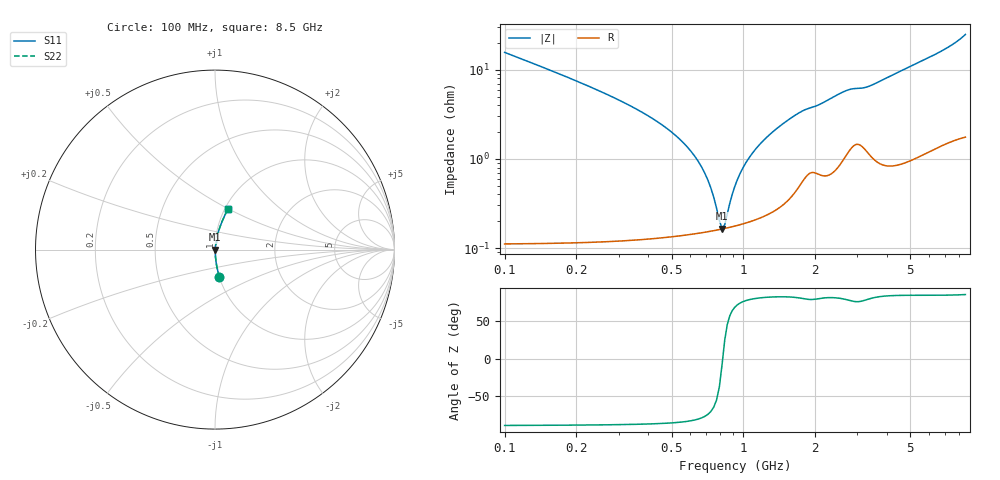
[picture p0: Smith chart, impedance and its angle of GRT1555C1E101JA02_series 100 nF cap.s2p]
!Murata Part Number: GRT1555C1E101JA02
!These Parameters are Measured in Series Mode Connection
!  o--ll--o
!Port1  Port2
!  o------o
!Operation Temp=25[degC], DC Bias Voltage=0[V]
!Freq. Start=100[MHz] Stop=8.5[GHz], 401[Steps]
!Data Generated on Jan 10, 2017
# Hz S RI R 50
!Freq.(Hz) S11(Real) S11(Imag) S21(Real) S21(Imag) S12(Real) S12(Imag) S22(Real) S22(Imag)
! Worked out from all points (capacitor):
!   401 points, 100 MHz to 8.5 GHz, reference 50 ohm
!   read as one part in series: C = 100 pF near 142 MHz
!   lowest |Z| = 165 mohm at 814 MHz (marker M1)
!   series resonance near 818.8 MHz, so ESL is about 380 pH
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1e8  0.025 -0.1527  0.975 0.1527  0.975 0.1527  0.025 -0.1527
2.47e8  0.00457 -0.0582  0.9954 0.0582  0.9954 0.0582  0.00457 -0.0582
5.2e8  0.00168 -0.0182  0.9983 0.0182  0.9983 0.0182  0.00168 -0.0182
6.25e8  0.00155 -0.0106  0.9984 0.0106  0.9984 0.0106  0.00155 -0.0106
6.88e8  0.00155 -0.00679  0.9985 0.00679  0.9985 0.00679  0.00155 -0.00679
7.72e8  0.00159 -0.00229  0.9984 0.00229  0.9984 0.00229  0.00159 -0.00229
8.14e8  0.00163 -0.000225  0.9984 0.000225  0.9984 0.000225  0.00163 -0.000225
8.35e8  0.00166 0.000766  0.9983 -0.000766  0.9983 -0.000766  0.00166 0.000766
8.56e8  0.00168 0.00173  0.9983 -0.00173  0.9983 -0.00173  0.00168 0.00173
9.19e8  0.00178 0.00451  0.9982 -0.00451  0.9982 -0.00451  0.00178 0.00451
9.61e8  0.00185 0.00628  0.9981 -0.00628  0.9981 -0.00628  0.00185 0.00628
1.066e9  0.00208 0.0104  0.9979 -0.0104  0.9979 -0.0104  0.00208 0.0104
1.255e9  0.00265 0.0173  0.9974 -0.0173  0.9974 -0.0173  0.00265 0.0173
1.507e9  0.00391 0.0259  0.9961 -0.0259  0.9961 -0.0259  0.00391 0.0259
1.822e9  0.00742 0.0348  0.9926 -0.0348  0.9926 -0.0348  0.00742 0.0348
2.578e9  0.0119 0.0535  0.9881 -0.0535  0.9881 -0.0535  0.0119 0.0535
2.914e9  0.0174 0.058  0.9826 -0.058  0.9826 -0.058  0.0174 0.058
3.313e9  0.0155 0.0617  0.9845 -0.0617  0.9845 -0.0617  0.0155 0.0617
4.3e9  0.0161 0.0873  0.9839 -0.0873  0.9839 -0.0873  0.0161 0.0873
5.707e9  0.0268 0.1237  0.9732 -0.1237  0.9732 -0.1237  0.0268 0.1237
7.114e9  0.0432 0.1651  0.9568 -0.1651  0.9568 -0.1651  0.0432 0.1651
8.5e9  0.0725 0.2264  0.9275 -0.2264  0.9275 -0.2264  0.0725 0.2264
